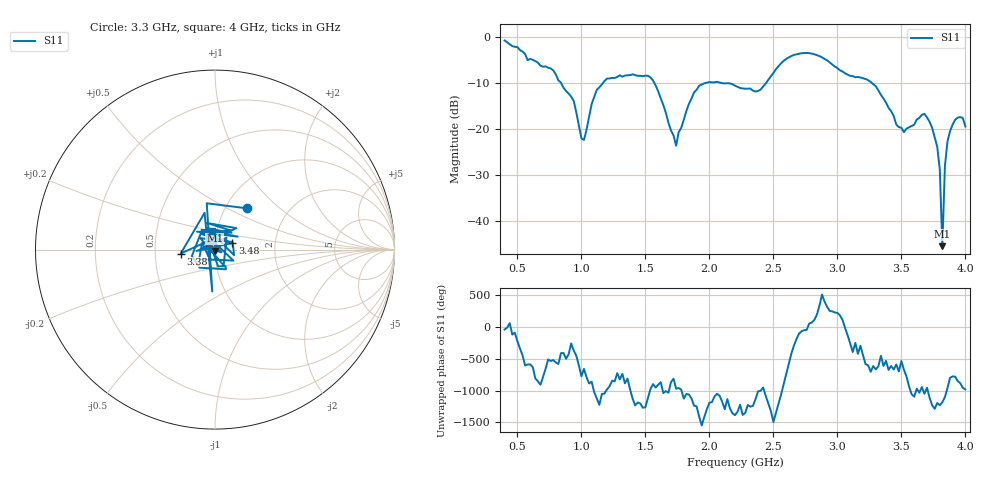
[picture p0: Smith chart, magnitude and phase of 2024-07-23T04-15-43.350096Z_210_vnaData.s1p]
!Created with skrf (http://scikit-rf.org).
# Hz S RI R 50.0
!freq ReS11 ImS11
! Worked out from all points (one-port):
!   181 points, 400 MHz to 4 GHz, reference 50 ohm
!   lowest |S11| = -45.6 dB at 3.82 GHz (marker M1), VSWR 1.01, Z = 49.9 - j0.513 ohm
!   |S11| at or under -10 dB: 1.569 GHz to 1.976 GHz (407.2 MHz wide, 23 % of centre); 2.089 GHz to 2.444 GHz (354.2 MHz wide, 15.6 % of centre); 3.268 GHz to end of sweep (the widest 3 of 4)
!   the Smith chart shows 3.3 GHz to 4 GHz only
!   S11 on the Smith chart (normalised r, x): 3.3 GHz: 1.25, +0.63; 3.38 GHz: 0.68, -0.03; 3.48 GHz: 1.21, +0.09; 4 GHz: 0.95, +0.20
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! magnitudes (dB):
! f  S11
! 400 MHz  -0.8
! 780 MHz  -7.3
! 860 MHz  -11.1
! 940 MHz  -13.9
! 1.02 GHz  -22.4
! 1.12 GHz  -11.5
! 1.3 GHz  -8.4
! 1.54 GHz  -8.8
! 1.74 GHz  -23.7
! 1.76 GHz  -20.7
! 1.92 GHz  -10.7
! 2.2 GHz  -10.6
! 2.4 GHz  -11.5
! 2.66 GHz  -3.9
! 3.1 GHz  -8.5
! 3.3 GHz  -10.8
! 3.38 GHz  -14.3
! 3.48 GHz  -19.6
! 3.56 GHz  -19.7
! 3.68 GHz  -16.8
! 3.74 GHz  -19.8
! 3.78 GHz  -23.9
! 3.8 GHz  -28.9
! 3.82 GHz  -45.6
! 3.84 GHz  -28.2
! 3.86 GHz  -22.8
! 3.94 GHz  -17.6
! 4 GHz  -19.5
